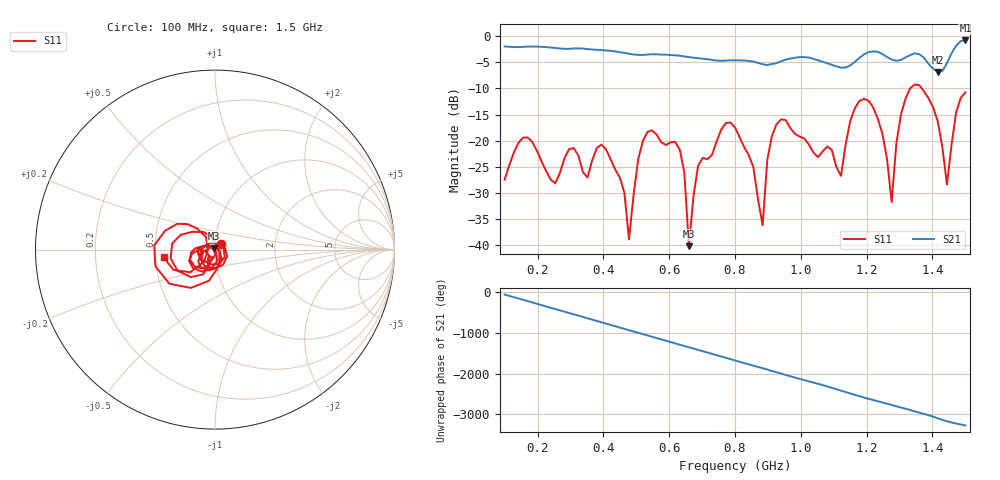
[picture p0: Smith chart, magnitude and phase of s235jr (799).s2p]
! NanoVNA-App
! Date: 2025-09-25 15:10:23
! Start: 100MHz Stop: 1,5GHz Points: 101
! S-Parameter data: F S11 S21 S12 S22
# Hz S RI R 50
!  Frequency  S11_Real  S11_Imag  S21_Real  S21_Imag  S12_Real  S12_Imag  S22_Real  S22_Imag
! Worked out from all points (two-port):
!   101 points, 100 MHz to 1.5 GHz, reference 50 ohm
!   highest |S21| = -0.82 dB at 1.5 GHz (marker M1); lowest = -6.9 dB at 1.416 GHz (marker M2)
!   |S21| within 3 dB of the highest: start of sweep to 640.3 MHz; 1.185 GHz to 1.258 GHz (72.57 MHz wide, 5.94 % of centre) (the widest 2 of 4)
!   lowest |S11| = -40.2 dB at 660 MHz (marker M3), VSWR 1.02, Z = 49.3 + j0.641 ohm
!   |S11| at or under -10 dB: start of sweep to 1.332 GHz; 1.368 GHz to end of sweep
!   S12 and S22 are empty: the file has one direction only
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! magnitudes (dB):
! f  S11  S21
! 100 MHz  -27.5  -2.0
! 156 MHz  -19.4  -2.0
! 338 MHz  -26.0  -2.4
! 408 MHz  -21.6  -2.7
! 478 MHz  -38.9  -3.4
! 520 MHz  -20.1  -3.6
! 576 MHz  -20.3  -3.5
! 632 MHz  -21.7  -3.7
! 660 MHz  -40.2  -4.0
! 688 MHz  -24.8  -4.2
! 800 MHz  -17.5  -4.6
! 884 MHz  -36.2  -5.4
! 898 MHz  -23.7  -5.5
! 926 MHz  -16.9  -5.2
! 1.038 GHz  -22.2  -4.3
! 1.122 GHz  -26.7  -6.0
! 1.206 GHz  -12.4  -3.1
! 1.276 GHz  -31.8  -4.5
! 1.332 GHz  -10.0  -3.6
! 1.416 GHz  -16.3  -6.9
! 1.444 GHz  -28.4  -5.2
! 1.5 GHz  -10.8  -0.8
